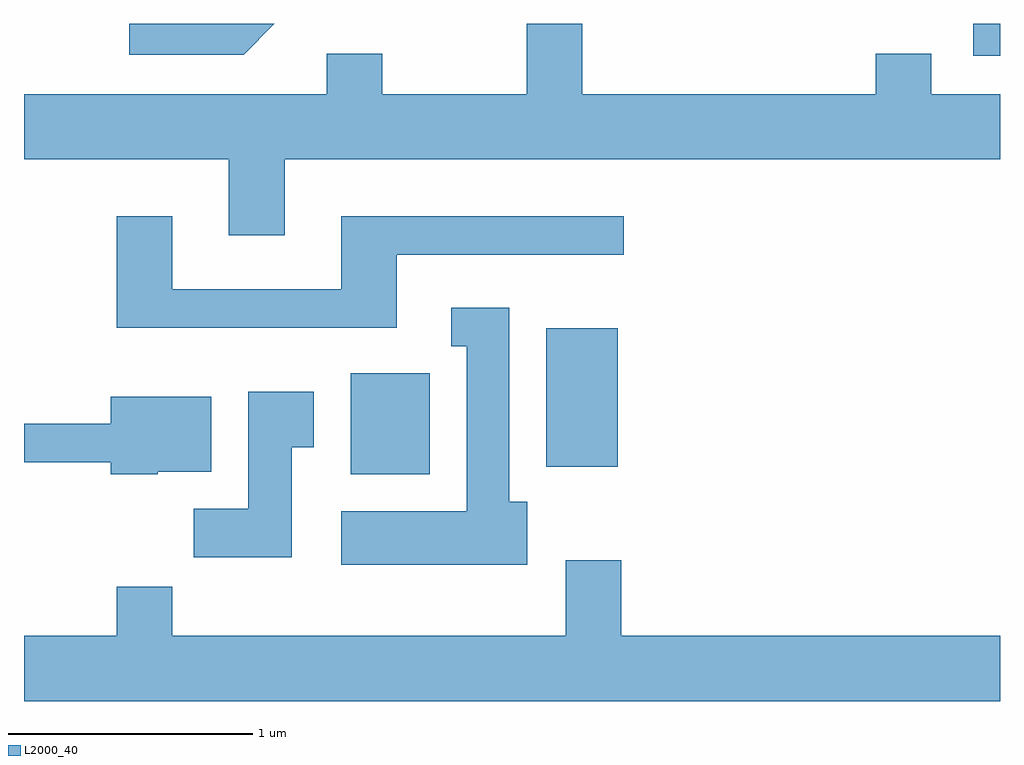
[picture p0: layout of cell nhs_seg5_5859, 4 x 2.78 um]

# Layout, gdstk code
import gdstk
lib = gdstk.Library(unit=1e-6, precision=1e-09)
def R(c, l, rs):  # rectangles x0, y0, x1, y1
    for r in rs: c.add(gdstk.rectangle(r[:2], r[2:], *l))
def P(c, l, *ps):  # polygons
    for p in ps: c.add(gdstk.Polygon(p, *l))
L2000_40 = (2000, 40)

nhs_seg5_5859 = lib.new_cell('nhs_seg5_5859')
R(nhs_seg5_5859, L2000_40, [(360.951,1402.226,361.274,1402.639), (361.751,1402.256,362.044,1402.824), (363.501,1403.941,363.611,1404.072)])
P(nhs_seg5_5859, L2000_40, [(360.679,1403.516),(363.611,1403.516),(363.611,1403.784),(363.329,1403.784),(363.329,1403.949),(363.101,1403.949),(363.101,1403.784),(361.899,1403.784),(361.899,1404.072),(361.671,1404.072),(361.671,1403.784),(361.079,1403.784),(361.079,1403.949),(360.851,1403.949),(360.851,1403.784),(359.611,1403.784),(359.611,1403.516),(360.451,1403.516),(360.451,1403.206),(360.679,1403.206)],
  [(360.637,1404.072),(360.043,1404.072),(360.043,1403.946),(360.512,1403.946)],
  [(361.139,1403.126),(362.068,1403.126),(362.068,1403.284),(360.911,1403.284),(360.911,1402.984),(360.219,1402.984),(360.219,1403.284),(359.991,1403.284),(359.991,1402.826),(361.139,1402.826)],
  [(361.674,1402.114),(361.599,1402.114),(361.599,1402.909),(361.363,1402.909),(361.363,1402.751),(361.426,1402.751),(361.426,1402.074),(360.911,1402.074),(360.911,1401.856),(361.674,1401.856)],
  [(360.709,1402.336),(360.799,1402.336),(360.799,1402.564),(360.531,1402.564),(360.531,1402.084),(360.306,1402.084),(360.306,1401.886),(360.709,1401.886)],
  [(360.16,1402.236),(360.379,1402.236),(360.379,1402.544),(359.966,1402.544),(359.966,1402.434),(359.611,1402.434),(359.611,1402.276),(359.966,1402.276),(359.966,1402.226),(360.16,1402.226)],
  [(363.611,1401.564),(362.059,1401.564),(362.059,1401.874),(361.831,1401.874),(361.831,1401.564),(360.219,1401.564),(360.219,1401.764),(359.991,1401.764),(359.991,1401.564),(359.611,1401.564),(359.611,1401.296),(363.611,1401.296)])

lib.write_gds('nhs_seg5_5859.gds')
